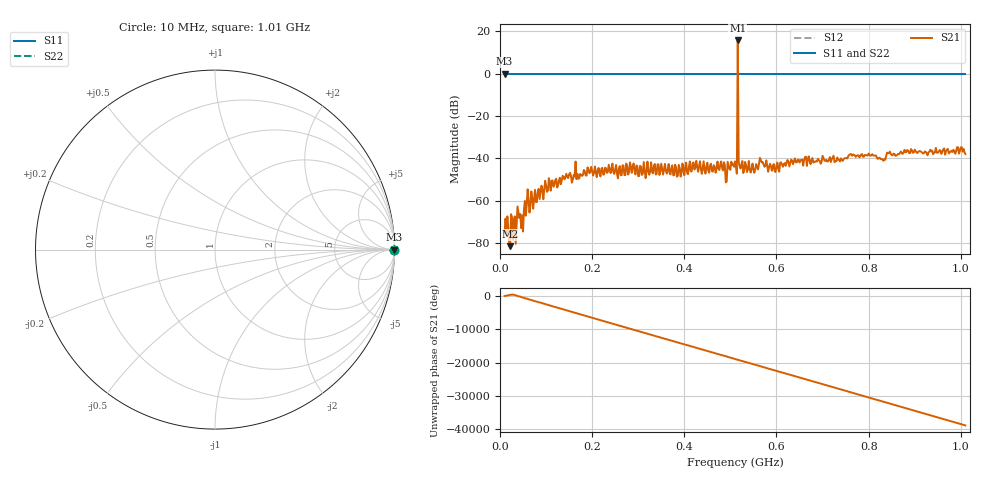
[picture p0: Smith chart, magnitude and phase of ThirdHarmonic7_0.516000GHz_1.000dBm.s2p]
! 8/17/2025 3:04:47 PM
! C:\ANRITSUVNA\TEMP\TEMP.S2P
! CHANNEL.1
! TR.MEASUREMENT
! RAW.DATA
! RF.CORRECTION.OFF
! AVERAGING.OFF
! IF.BANDWIDTH: 5KHZ
! SWEEPTYPE:  FREQ.SWEEP(Linear)
! Reference Plane Port Info
! PORT:  PORT1  PORT2
! DISTANCE:  0  m  0  m
! TIME:  0  s  0  s
! PHASE.OFFSET:  0  deg.  0  deg.
! LOSS:  0  dB  0  dB
! REF.LOSS:  0  dB  0  dB
! REF.FREQ:  0  Hz  0  Hz
! Power Info
! POWER:  -20  dBm  -20  dBm
! EFF.POWER:  -20  dBm  -20  dBm
! SOURCE.ATTEN:  0  dB  0  dB
! TEST.ATTEN:  0  dB  0  dB
# GHZ S RI R 50.0
! FREQ.GHZ  S11RE  S11IM  S21RE  S21IM  S12RE  S12IM  S22RE  S22IM
!; PortSelection: Port_12
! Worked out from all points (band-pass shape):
!   501 points, 10 MHz to 1.01 GHz, reference 50 ohm
!   highest |S21| = 15.64 dB at 516 MHz (marker M1); lowest = -81.4 dB at 22 MHz (marker M2)
!   |S21| within 3 dB of the highest: 515.9045 MHz to 516.1052 MHz (200.7 kHz wide, 0.0389 % of centre)
!   lowest |S11| = 0.0 dB at 10 MHz (marker M3)
!   |S11| at or under -10 dB: nowhere
!   |S22| runs from 0.0 to 0.0 dB; largest |S21 - S12| = 5.2
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0.01  1 0  -5.26e-05 0.000171  1 0  1 0
0.022  1 0  -4.94e-05 6.98e-05  1 0  1 0
0.028  1 0  -0.000117 -2.33e-05  1 0  1 0
0.032  1 0  0.000388 0.000186  1 0  1 0
0.04  1 0  0.000529 1.64e-05  1 0  1 0
0.046  1 0  -0.000187 0.000128  1 0  1 0
0.058  1 0  0.00039 0.000707  1 0  1 0
0.102  1 0  0.00155 0.000504  1 0  1 0
0.178  1 0  -0.00364 -0.00136  1 0  1 0
0.344  1 0  0.00657 -0.00308  1 0  1 0
0.51  1 0  -0.00842 -0.00148  1 0  1 0
0.512  1 0  -0.000746 0.00665  1 0  1 0
0.516  1 0  5.396 -2.743  1 0  1 0
0.52  1 0  -0.00436 0.00473  1 0  1 0
0.522  1 0  0.00164 0.00555  1 0  1 0
0.548  1 0  -0.00311 0.00691  1 0  1 0
0.568  1 0  0.00693 0.00406  1 0  1 0
0.594  1 0  0.00368 0.0064  1 0  1 0
0.678  1 0  0.00624 -0.00807  1 0  1 0
0.832  1 0  -0.00449 -0.00759  1 0  1 0
0.844  1 0  -0.00752 0.011  1 0  1 0
1.01  1 0  0.000975 -0.0127  1 0  1 0
